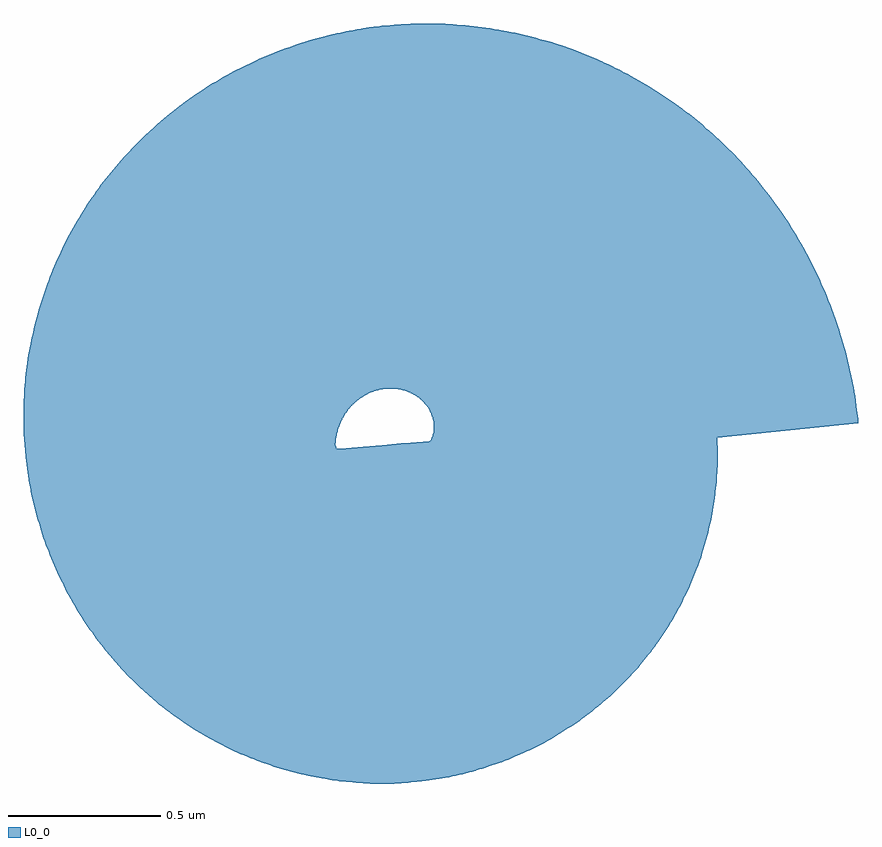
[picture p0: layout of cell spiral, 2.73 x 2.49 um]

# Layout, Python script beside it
import gdspy
import numpy as np

# Define the parameters
t_min, t_max = 0, 6*np.pi
t_step = 0.01
line_width = 1

# Generate the spiral points
t = np.arange(t_min, t_max, t_step)
r = np.exp(-0.1*t)
x = r * np.cos(t)
y = r * np.sin(t)

# Create the GDS library and cell
lib = gdspy.GdsLibrary()
cell = lib.new_cell('spiral')

# Create the spiral path
path = gdspy.FlexPath(np.column_stack((x, y)), line_width)

# Add the path to the cell
cell.add(path)

# Save the design to a GDS file
lib.write_gds('spiral.gds')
